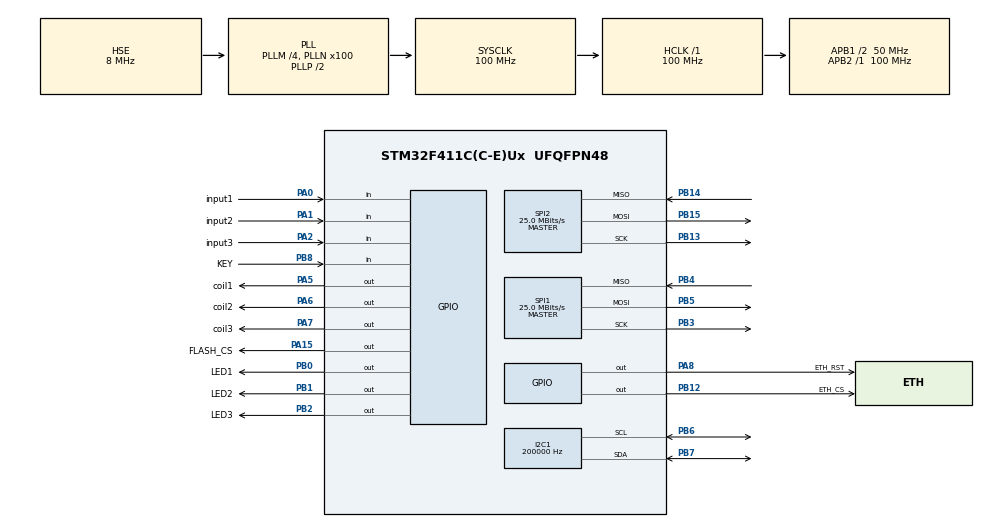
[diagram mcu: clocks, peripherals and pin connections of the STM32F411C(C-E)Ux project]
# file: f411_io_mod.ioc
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ADC1.Channel-2\#ChannelRegularConversion=ADC_CHANNEL_VBAT
ADC1.ClockPrescaler=ADC_CLOCK_SYNC_PCLK_DIV8
ADC1.NbrOfConversion=1
ADC1.NbrOfConversionFlag=1
ADC1.Rank-2\#ChannelRegularConversion=1
ADC1.SamplingTime-2\#ChannelRegularConversion=ADC_SAMPLETIME_3CYCLES
ADC1.master=1
FREERTOS.INCLUDE_vTaskDelete=1
FREERTOS.Mutexes01=SPI2Mutex,Dynamic,NULL,Available;FSMutex,Dynamic,NULL,Available
FREERTOS.Queues01=inputReadQ,1,inputs_state_t,0,Dynamic,NULL,NULL;outputReadQ,1,outputs_state_t,0,Dynamic,NULL,NULL;outputWriteQ,1,outputs_state_t,0,Dynamic,NULL,NULL;mqttQ,1,MQTT_cred_struct,0,Dynamic,NULL,NULL;loggingQ,25,log_message_t,0,Dynamic,NULL,NULL
FREERTOS.Tasks01=ethTask,24,1500,StartEthTask,Default,NULL,Dynamic,NULL,NULL;IOTask,24,256,StartIOTask,Default,NULL,Dynamic,NULL,NULL;displayTask,24,256,StartDisplayTask,Default,NULL,Dynamic,NULL,NULL;settingsTask,24,512,StartSettingsTask,Default,NULL,Dynamic,NULL,NULL;loggingTask,8,512,StartLoggingTask,Default,NULL,Dynamic,NULL,NULL;WatchDog,40,265,StartWatchDogTask,Default,NULL,Dynamic,NULL,NULL
FREERTOS.configENABLE_FPU=1
FREERTOS.configTOTAL_HEAP_SIZE=90360
FREERTOS.configUSE_NEWLIB_REENTRANT=1
I2C1.ClockSpeed=200000
I2C1.I2C_Mode=I2C_Fast
IWDG.Prescaler=IWDG_PRESCALER_32
Mcu.Family=STM32F4
Mcu.Name=STM32F411C(C-E)Ux
Mcu.Package=UFQFPN48
NVIC.PriorityGroup=NVIC_PRIORITYGROUP_4
NVIC.TIM1_BRK_TIM9_IRQn=true\:15\:0\:false\:false\:true\:false\:false\:true\:true
NVIC.TimeBase=TIM1_BRK_TIM9_IRQn
NVIC.TimeBaseIP=TIM9
PA0-WKUP.GPIO_Label=input1
PA0-WKUP.GPIO_PuPd=GPIO_PULLDOWN
PA0-WKUP.Signal=GPIO_Input
PA1.GPIO_Label=input2
PA1.GPIO_PuPd=GPIO_PULLDOWN
PA1.Signal=GPIO_Input
PA13.Mode=Serial_Wire
PA13.Signal=SYS_JTMS-SWDIO
PA14.Mode=Serial_Wire
PA14.Signal=SYS_JTCK-SWCLK
PA15.GPIO_Label=FLASH_CS
PA15.GPIO_Speed=GPIO_SPEED_FREQ_HIGH
PA15.PinState=GPIO_PIN_SET
PA15.Signal=GPIO_Output
PA2.GPIO_Label=input3
PA2.GPIO_PuPd=GPIO_PULLDOWN
PA2.Signal=GPIO_Input
PA5.GPIO_Label=coil1
PA5.Signal=GPIO_Output
PA6.GPIO_Label=coil2
PA6.Signal=GPIO_Output
PA7.GPIO_Label=coil3
PA7.Signal=GPIO_Output
PA8.GPIO_Label=ETH_RST
PA8.GPIO_Speed=GPIO_SPEED_FREQ_HIGH
PA8.Signal=GPIO_Output
PB0.GPIO_Label=LED1
PB0.Signal=GPIO_Output
PB1.GPIO_Label=LED2
PB1.Signal=GPIO_Output
PB12.GPIO_Label=ETH_CS
PB12.GPIO_Speed=GPIO_SPEED_FREQ_HIGH
PB12.PinState=GPIO_PIN_SET
PB12.Signal=GPIO_Output
PB13.Mode=Full_Duplex_Master
PB13.Signal=SPI2_SCK
PB14.Mode=Full_Duplex_Master
PB14.Signal=SPI2_MISO
PB15.Mode=Full_Duplex_Master
PB15.Signal=SPI2_MOSI
PB2.GPIO_Label=LED3
PB2.Signal=GPIO_Output
PB3.Mode=Full_Duplex_Master
PB3.Signal=SPI1_SCK
PB4.Mode=Full_Duplex_Master
PB4.Signal=SPI1_MISO
PB5.Mode=Full_Duplex_Master
PB5.Signal=SPI1_MOSI
PB6.GPIO_Pu=GPIO_PULLUP
PB6.Mode=I2C
PB6.Signal=I2C1_SCL
PB7.GPIO_Pu=GPIO_PULLUP
PB7.Mode=I2C
PB7.Signal=I2C1_SDA
PB8.GPIO_Label=KEY
PB8.Signal=GPIO_Input
PH0\ -\ OSC_IN.Mode=HSE-External-Oscillator
PH0\ -\ OSC_IN.Signal=RCC_OSC_IN
PH1\ -\ OSC_OUT.Mode=HSE-External-Oscillator
PH1\ -\ OSC_OUT.Signal=RCC_OSC_OUT
ProjectManager.HeapSize=0x400
ProjectManager.StackSize=0x800
ProjectManager.TargetToolchain=STM32CubeIDE
RCC.48MHZClocksFreq_Value=50000000
RCC.AHBFreq_Value=100000000
RCC.APB1CLKDivider=RCC_HCLK_DIV2
RCC.APB1Freq_Value=50000000
RCC.APB1TimFreq_Value=100000000
RCC.APB2Freq_Value=100000000
RCC.APB2TimFreq_Value=100000000
RCC.CortexFreq_Value=100000000
RCC.HCLKFreq_Value=100000000
RCC.HSE_VALUE=8000000
RCC.HSI_VALUE=16000000
RCC.LSE_VALUE=32768
RCC.PLLM=4
RCC.PLLN=100
RCC.PLLSourceVirtual=RCC_PLLSOURCE_HSE
RCC.RCC_RTC_Clock_Source_FROM_HSE=RCC_RTCCLKSOURCE_HSE_DIV31
RCC.SYSCLKFreq_VALUE=100000000
RCC.SYSCLKSource=RCC_SYSCLKSOURCE_PLLCLK
RCC.VCOOutputFreq_Value=200000000
RTC.Format=RTC_FORMAT_BCD
SPI1.BaudRatePrescaler=SPI_BAUDRATEPRESCALER_4
SPI1.CalculateBaudRate=25.0 MBits/s
SPI1.Direction=SPI_DIRECTION_2LINES
SPI1.Mode=SPI_MODE_MASTER
SPI1.VirtualType=VM_MASTER
SPI2.BaudRatePrescaler=SPI_BAUDRATEPRESCALER_2
SPI2.CalculateBaudRate=25.0 MBits/s
SPI2.Direction=SPI_DIRECTION_2LINES
SPI2.Mode=SPI_MODE_MASTER
SPI2.VirtualType=VM_MASTER
VP_ADC1_Vbat_Input.Mode=IN-Vbat
VP_ADC1_Vref_Input.Mode=IN-Vrefint
VP_FREERTOS_VS_CMSIS_V2.Mode=CMSIS_V2
VP_IWDG_VS_IWDG.Mode=IWDG_Activate
VP_RTC_VS_RTC_Activate.Mode=RTC_Enabled
VP_RTC_VS_RTC_Calendar.Mode=RTC_Calendar
VP_SYS_VS_tim9.Mode=TIM9
board=custom

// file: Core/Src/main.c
/* USER CODE BEGIN Header */
/**
  ******************************************************************************
  * @file           : main.c
  * @brief          : Main program body
  ******************************************************************************
  * @attention
  *
  * Copyright (c) 2024 STMicroelectronics.
  * All rights reserved.
  *
  * This software is licensed under terms that can be found in the LICENSE file
  * in the root directory of this software component.
  * If no LICENSE file comes with this software, it is provided AS-IS.
  *
  ******************************************************************************
  */
/* USER CODE END Header */
#include "main.h"
#include "cmsis_os.h"
#include "adc.h"
#include "i2c.h"
#include "iwdg.h"
#include "rtc.h"
#include "spi.h"
#include "gpio.h"

/* USER CODE BEGIN Includes */
#include "SPI_flash.h"
/* USER CODE END Includes */

void SystemClock_Config(void);
void MX_FREERTOS_Init(void);

int main(void)
{

  /* USER CODE BEGIN 1 */
	__disable_irq();
	SCB->VTOR = (uint32_t)0x08000000 | (0x08010000 & (uint32_t)0x1FFFFF80);
	 //NVIC_SetVectorTable(NVIC_VectTab_FLASH, 0x08010000);
	__enable_irq();

	volatile int i = 1000000;
	while (i > 0){ //delay for startup
		i--;
	}
  /* USER CODE END 1 */

  /* MCU Configuration--------------------------------------------------------*/

  /* Reset of all peripherals, Initializes the Flash interface and the Systick. */
  HAL_Init();

  /* Configure the system clock */
  SystemClock_Config();

  /* Initialize all configured peripherals */
  MX_GPIO_Init();
  MX_SPI2_Init();
  MX_I2C1_Init();
  MX_SPI1_Init();
  MX_IWDG_Init();
  MX_ADC1_Init();
  MX_RTC_Init();
  /* USER CODE BEGIN 2 */
  //load spi flash statistic from RTC registers
  if (HAL_RTCEx_BKUPRead(&hrtc, RTC_BKP_DR2) == HAL_RTCEx_BKUPRead(&hrtc, RTC_BKP_DR3)){
	  sFLASH_SetEraceSectorTimes(HAL_RTCEx_BKUPRead(&hrtc, RTC_BKP_DR2));
  }

  if (HAL_RTCEx_BKUPRead(&hrtc, RTC_BKP_DR4) == HAL_RTCEx_BKUPRead(&hrtc, RTC_BKP_DR5)){
	  sFLASH_SetReadedBytes(HAL_RTCEx_BKUPRead(&hrtc, RTC_BKP_DR4));
  }

  if (HAL_RTCEx_BKUPRead(&hrtc, RTC_BKP_DR6) == HAL_RTCEx_BKUPRead(&hrtc, RTC_BKP_DR7)){
	  sFLASH_SetWritedBytes(HAL_RTCEx_BKUPRead(&hrtc, RTC_BKP_DR6));
  }
  /* USER CODE END 2 */

  /* Init scheduler */
  osKernelInitialize();

  /* Call init function for freertos objects (in cmsis_os2.c) */
  MX_FREERTOS_Init();

  /* Start scheduler */
  osKernelStart();

  /* We should never get here as control is now taken by the scheduler */

  /* Infinite loop */
  while (1)
  {

  }
}

void SystemClock_Config(void)
{
  RCC_OscInitTypeDef RCC_OscInitStruct = {0};
  RCC_ClkInitTypeDef RCC_ClkInitStruct = {0};

  /** Configure the main internal regulator output voltage
  */
  __HAL_RCC_PWR_CLK_ENABLE();
  __HAL_PWR_VOLTAGESCALING_CONFIG(PWR_REGULATOR_VOLTAGE_SCALE1);

  /** Initializes the RCC Oscillators according to the specified parameters
  * in the RCC_OscInitTypeDef structure.
  */
  RCC_OscInitStruct.OscillatorType = RCC_OSCILLATORTYPE_LSI|RCC_OSCILLATORTYPE_HSE;
  RCC_OscInitStruct.HSEState = RCC_HSE_ON;
  RCC_OscInitStruct.LSIState = RCC_LSI_ON;
  RCC_OscInitStruct.PLL.PLLState = RCC_PLL_ON;
  RCC_OscInitStruct.PLL.PLLSource = RCC_PLLSOURCE_HSE;
  RCC_OscInitStruct.PLL.PLLM = 4;
  RCC_OscInitStruct.PLL.PLLN = 100;
  RCC_OscInitStruct.PLL.PLLP = RCC_PLLP_DIV2;
  RCC_OscInitStruct.PLL.PLLQ = 4;
  if (HAL_RCC_OscConfig(&RCC_OscInitStruct) != HAL_OK)
  {
    Error_Handler();
  }

  /** Initializes the CPU, AHB and APB buses clocks
  */
  RCC_ClkInitStruct.ClockType = RCC_CLOCKTYPE_HCLK|RCC_CLOCKTYPE_SYSCLK
                              |RCC_CLOCKTYPE_PCLK1|RCC_CLOCKTYPE_PCLK2;
  RCC_ClkInitStruct.SYSCLKSource = RCC_SYSCLKSOURCE_PLLCLK;
  RCC_ClkInitStruct.AHBCLKDivider = RCC_SYSCLK_DIV1;
  RCC_ClkInitStruct.APB1CLKDivider = RCC_HCLK_DIV2;
  RCC_ClkInitStruct.APB2CLKDivider = RCC_HCLK_DIV1;

  if (HAL_RCC_ClockConfig(&RCC_ClkInitStruct, FLASH_LATENCY_3) != HAL_OK)
  {
    Error_Handler();
  }
}

void HAL_TIM_PeriodElapsedCallback(TIM_HandleTypeDef *htim)
{
  if (htim->Instance == TIM9)
  {
    HAL_IncTick();
  }
}

void Error_Handler(void)
{
  __disable_irq();
  while (1)
  {
  }
}

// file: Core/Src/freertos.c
/* USER CODE BEGIN Header */
/**
  ******************************************************************************
  * File Name          : freertos.c
  * Description        : Code for freertos applications
  ******************************************************************************
  * @attention
  *
  * Copyright (c) 2024 STMicroelectronics.
  * All rights reserved.
  *
  * This software is licensed under terms that can be found in the LICENSE file
  * in the root directory of this software component.
  * If no LICENSE file comes with this software, it is provided AS-IS.
  *
  ******************************************************************************
  */
/* USER CODE END Header */

#include "FreeRTOS.h"
#include "task.h"
#include "main.h"
#include "cmsis_os.h"

/* USER CODE BEGIN Includes */
#include "definitions.h"
#include "mongoose.h"
#include "spi.h"
#include "data_types.h"
#include "SPI_flash.h"
#include "fs_adstractions.h"
#include "dashboard.h"
#include "queue.h"
//#include "eth.h"
#include "mqtt_gen_strings.hpp"
#include "mqtt.hpp"
#include "ssd1306.h"
#include "fonts.h"
#include "i2c.h"
#include "logger.h"
#include "sntp.h"
#include "ssdp.h"
#include "mb.h"
#include "mb_tcp_app.h"
#include "mb.h"
#include "mbutils.h"
#include "iwdg.h"
#include "rtc.h"
//#include "mbport.h"

/* USER CODE END Includes */

/* USER CODE BEGIN Variables */
struct mg_full_net_info mg_full_info;
//flag to indicate file system healthy
int8_t	flash_status_flag = 0;
//flag to indicate flash is not found
uint8_t flash_not_connect_flag = 0;
/* USER CODE END Variables */
/* Definitions for ethTask */
osThreadId_t ethTaskHandle;
const osThreadAttr_t ethTask_attributes = {
  .name = "ethTask",
  .stack_size = 1500 * 4,
  .priority = (osPriority_t) osPriorityNormal,
};
/* Definitions for IOTask */
osThreadId_t IOTaskHandle;
const osThreadAttr_t IOTask_attributes = {
  .name = "IOTask",
  .stack_size = 256 * 4,
  .priority = (osPriority_t) osPriorityNormal,
};
/* Definitions for displayTask */
osThreadId_t displayTaskHandle;
const osThreadAttr_t displayTask_attributes = {
  .name = "displayTask",
  .stack_size = 256 * 4,
  .priority = (osPriority_t) osPriorityNormal,
};
/* Definitions for settingsTask */
osThreadId_t settingsTaskHandle;
const osThreadAttr_t settingsTask_attributes = {
  .name = "settingsTask",
  .stack_size = 512 * 4,
  .priority = (osPriority_t) osPriorityNormal,
};
/* Definitions for loggingTask */
osThreadId_t loggingTaskHandle;
const osThreadAttr_t loggingTask_attributes = {
  .name = "loggingTask",
  .stack_size = 512 * 4,
  .priority = (osPriority_t) osPriorityLow,
};
/* Definitions for WatchDog */
osThreadId_t WatchDogHandle;
const osThreadAttr_t WatchDog_attributes = {
  .name = "WatchDog",
  .stack_size = 265 * 4,
  .priority = (osPriority_t) osPriorityHigh,
};
/* Definitions for inputReadQ */
osMessageQueueId_t inputReadQHandle;
const osMessageQueueAttr_t inputReadQ_attributes = {
  .name = "inputReadQ"
};
/* Definitions for outputReadQ */
osMessageQueueId_t outputReadQHandle;
const osMessageQueueAttr_t outputReadQ_attributes = {
  .name = "outputReadQ"
};
/* Definitions for outputWriteQ */
osMessageQueueId_t outputWriteQHandle;
const osMessageQueueAttr_t outputWriteQ_attributes = {
  .name = "outputWriteQ"
};
/* Definitions for mqttQ */
osMessageQueueId_t mqttQHandle;
const osMessageQueueAttr_t mqttQ_attributes = {
  .name = "mqttQ"
};
/* Definitions for loggingQ */
osMessageQueueId_t loggingQHandle;
const osMessageQueueAttr_t loggingQ_attributes = {
  .name = "loggingQ"
};
/* Definitions for SPI2Mutex */
osMutexId_t SPI2MutexHandle;
const osMutexAttr_t SPI2Mutex_attributes = {
  .name = "SPI2Mutex"
};
/* Definitions for FSMutex */
osMutexId_t FSMutexHandle;
const osMutexAttr_t FSMutex_attributes = {
  .name = "FSMutex"
};

/* USER CODE BEGIN FunctionPrototypes */
void EthResetBegin(void);
void EthResetEnd(void);
void EthBegin(void * param);
void EthEnd(void * param);
void FlashBegin(void);
void FlashEnd(void);
uint8_t EthTxn(void *spi, uint8_t data);
uint8_t GetInputsStatus(void);
uint8_t GetOutputsStatus(void);
void SetOutputs(uint8_t outputs);
//void SendByteSPI2(uint8_t byte);
//int RecvBuffSPI2(uint8_t * buffer, uint16_t size);
void FlashSPIsendByte(uint8_t byte);
int FlashSPIrecvBuff(uint8_t * buffer, uint16_t size);

void FS_Lock(void * param);
void FS_Unlock(void * param);
uint8_t EthSPIsendReceiveByte(SPI_HandleTypeDef *hspi, uint8_t data);
uint8_t spi_txn(void *spi, uint8_t data);
void RW_parameters_from_queue(void * param, sett_type_t param_type,  sett_direction_t direction);
void add_log_mess_to_q(struct log_message mess);
void empty_fn(void *data);
void my_custom_log_function(char ch, void *param);
/* USER CODE END FunctionPrototypes */

void StartEthTask(void *argument);
void StartIOTask(void *argument);
void StartDisplayTask(void *argument);
void StartSettingsTask(void *argument);
void StartLoggingTask(void *argument);
void StartWatchDogTask(void *argument);

void MX_FREERTOS_Init(void); /* (MISRA C 2004 rule 8.1) */

void MX_FREERTOS_Init(void) {
  /* Create the mutex(es) */
  /* creation of SPI2Mutex */
  SPI2MutexHandle = osMutexNew(&SPI2Mutex_attributes);

  /* creation of FSMutex */
  FSMutexHandle = osMutexNew(&FSMutex_attributes);

  /* Create the queue(s) */
  /* creation of inputReadQ */
  inputReadQHandle = osMessageQueueNew (1, sizeof(inputs_state_t), &inputReadQ_attributes);

  /* creation of outputReadQ */
  outputReadQHandle = osMessageQueueNew (1, sizeof(outputs_state_t), &outputReadQ_attributes);

  /* creation of outputWriteQ */
  outputWriteQHandle = osMessageQueueNew (1, sizeof(outputs_state_t), &outputWriteQ_attributes);

  /* creation of mqttQ */
  mqttQHandle = osMessageQueueNew (1, sizeof(MQTT_cred_struct), &mqttQ_attributes);

  /* creation of loggingQ */
  loggingQHandle = osMessageQueueNew (25, sizeof(log_message_t), &loggingQ_attributes);

  /* Create the thread(s) */
  /* creation of ethTask */
  ethTaskHandle = osThreadNew(StartEthTask, NULL, &ethTask_attributes);

  /* creation of IOTask */
  IOTaskHandle = osThreadNew(StartIOTask, NULL, &IOTask_attributes);

  /* creation of displayTask */
  displayTaskHandle = osThreadNew(StartDisplayTask, NULL, &displayTask_attributes);

  /* creation of settingsTask */
  settingsTaskHandle = osThreadNew(StartSettingsTask, NULL, &settingsTask_attributes);

  /* creation of loggingTask */
  loggingTaskHandle = osThreadNew(StartLoggingTask, NULL, &loggingTask_attributes);

  /* creation of WatchDog */
  WatchDogHandle = osThreadNew(StartWatchDogTask, NULL, &WatchDog_attributes);

}

void StartEthTask(void *argument)
{
  /* USER CODE BEGIN StartEthTask */
  void 		           *web_handler;
  struct 			   mg_mgr mgr; // Initialise
  MQTT_cred_struct	   mqtt_conf;
  struct mg_connection *mqtt_conn;
  struct               mg_tcpip_spi spi = {
											  .begin = EthBegin,
											  .end = EthEnd,
											  .txn = EthTxn,
											  .spi = &hspi2,
										  };
  struct              mg_tcpip_if   mif = {
											  .mac = {
													  0x40,
													  0x22,
													  *(uint8_t*)(UID_BASE),
													  *(uint8_t*)(UID_BASE + 0x02),
													  *(uint8_t*)(UID_BASE + 0x04),
													  *(uint8_t*)(UID_BASE + 0x08)
											  },
											  .enable_req_dns = true,
											  .enable_req_sntp = true,
											  .driver = &mg_tcpip_driver_w5500,
											  .driver_data = &spi
										  };

  mg_full_info.mgr =  &mgr;
  mg_full_info.mgr_if =  &mif;

  while (mg_fs_mounted() == 0){
	  osDelay(500);
  }
  // Set custom logging function
  mg_log_set_fn(my_custom_log_function, NULL);

  mg_mgr_init(&mgr);        // Mongoose event manager
  mg_log_set(MG_LL_INFO);  // Set log level

  web_handler = dash_hdl(); // Get dashboard handler

  while(mif.mtu == 0){
	  EthResetBegin();
	  osDelay(500);
	  EthResetEnd();
	  osDelay(2000);
	  mg_tcpip_init(&mgr, &mif);  // Initialize TCP/IP stack
  }
  set_device_id(mif.mac, sizeof(mif.mac));
  reg_parameter_handler(RW_parameters_from_queue);
  mg_http_listen(&mgr, "http://0.0.0.0:80", web_handler, &mg_full_info);

  while (mif.state != MG_TCPIP_STATE_READY) {
    mg_mgr_poll(&mgr, 1);
    osDelay(1);
  }

  logging(L_INFO, "IP addr: %lu.%lu.%lu.%lu", (mg_full_info.mgr_if->ip) & 0xFF, (mg_full_info.mgr_if->ip >> 8) & 0xFF,
			(mg_full_info.mgr_if->ip >> 16) & 0xFF, (mg_full_info.mgr_if->ip >> 24) & 0xFF);

  RW_parameters_from_queue(&mqtt_conf, S_MQTT, S_READ);
  if (mqtt_conf.enable){
	  logging(L_INFO, "MQTT function enabled.");
	  mqtt_init(&mgr, &mif, mqtt_conf.uri, mqtt_conf.login, mqtt_conf.pass, RW_parameters_from_queue);
  }else{
	  logging(L_INFO, "MQTT function disabled");
  }
  start_sntp(&mgr);
  ssdp_start_server(&mgr, &mif);
  init_mb_tcp(&mgr);
  TickType_t last_tick = xTaskGetTickCount(); // начальное значение тиков

  /* Infinite loop */
  for(;;)
  {
	  TickType_t current_tick = xTaskGetTickCount();
	  uint32_t elapsed_ms = (current_tick - last_tick) * portTICK_PERIOD_MS; // количество миллисекунд, прошедших с последнего вызова
	  last_tick = current_tick; // обновляем значение тиков

	  mg_mgr_poll(&mgr, elapsed_ms); // передаем фактическое время в миллисекундах

      while (mif.driver->up(&mif) == false){
    	  EthResetBegin(); //enable reset state w5500
    	  osDelay(100);
    	  EthResetEnd(); //disable reset state w5500
    	  osDelay(3000);
    	  mif.driver->init(&mif);
    	  osDelay(7000);
      }
      osDelay(1);
  }
  /* USER CODE END StartEthTask */
}

void StartIOTask(void *argument)
{
  /* USER CODE BEGIN StartIOTask */
	uint16_t pinCoils[] = {coil3_Pin, coil2_Pin,coil1_Pin};
	GPIO_TypeDef* portCoils[] = {coil3_GPIO_Port, coil2_GPIO_Port, coil1_GPIO_Port};
	uint16_t pinInputs[] = {input3_Pin, input2_Pin, input1_Pin };
	GPIO_TypeDef* portInputs[] = {input3_GPIO_Port, input2_GPIO_Port, input1_GPIO_Port};
	inputs_state_t pinInputs_r;
	outputs_state_t pinOutputs_r;
	outputs_state_t pinOutputs_w;
	uint8_t i;

	// check if lenth of massive is correct
	if ((sizeof(pinCoils) / sizeof(pinCoils[0])) != OUTPUTS_COUNT ||
		(sizeof(portCoils) / sizeof(portCoils[0])) != OUTPUTS_COUNT ||
		(sizeof(pinInputs) / sizeof(pinInputs[0])) != INPUTS_COUNT ||
		(sizeof(portInputs) / sizeof(portInputs[0])) != INPUTS_COUNT ||
		(sizeof(pinInputs_r) / sizeof(uint8_t)) != INPUTS_COUNT ||
		(sizeof(pinOutputs_r) / sizeof(uint8_t)) != OUTPUTS_COUNT ||
		(sizeof(pinOutputs_w) / sizeof(uint8_t)) != OUTPUTS_COUNT)
	{
		while (1){

		}
	    // Код обработки ошибки
	}
  /* Infinite loop */
  for(;;)
  {
	 // write outputs
	 if(osMessageQueueGetCount(outputWriteQHandle)){
		 osMessageQueueGet(outputWriteQHandle, &pinOutputs_w, 0, 0);
		 for (i = 0; i < OUTPUTS_COUNT; i++) {
		     if (pinOutputs_w[i]) {
		         HAL_GPIO_WritePin(portCoils[i], pinCoils[i], GPIO_PIN_SET);
		     } else {
		         HAL_GPIO_WritePin(portCoils[i], pinCoils[i], GPIO_PIN_RESET);
		     }
		 }
	 }

	 // read outputs status
	for (i = 0; i < OUTPUTS_COUNT; i++) {
		pinOutputs_r[i] = (uint8_t)HAL_GPIO_ReadPin(portCoils[i], pinCoils[i]);
	}
	//xQueueOverwrite(outputReadQHandle, &pinOutputs_r);
	osMessageQueueReset(outputReadQHandle);
	osMessageQueuePut(outputReadQHandle, &pinOutputs_r, 0, 0);

	// read inputs status
	for (i = 0; i < INPUTS_COUNT; i++) {
		pinInputs_r[i] = (uint8_t)(!HAL_GPIO_ReadPin(portInputs[i], pinInputs[i]));
	}
	//xQueueOverwrite(inputReadQHandle, &pinInputs_r);
	osMessageQueueReset(inputReadQHandle);
	osMessageQueuePut(inputReadQHandle, &pinInputs_r, 0, 0);

    osDelay(1);
  }
  /* USER CODE END StartIOTask */
}

void StartDisplayTask(void *argument)
{
  /* USER CODE BEGIN StartDisplayTask */
	uint8_t x,y;
	char buf[20];
	osDelay(1000);//

	static struct DeviceStatus io_status;

	SSD1306_Init (); // initialise the display
	osDelay(100);//
	SSD1306_GotoXY(x=1,y=0);
	SSD1306_Fill(SSD1306_COLOR_BLACK);

	if (flash_not_connect_flag){
		SSD1306_GotoXY(x=1,y=0);
		SSD1306_Fill(SSD1306_COLOR_BLACK);
		SSD1306_Puts("Error. Flash mem", &Font_7x10, SSD1306_COLOR_WHITE);
		SSD1306_GotoXY(x=1,y=10);
		SSD1306_Puts("chip is not", &Font_7x10, SSD1306_COLOR_WHITE);
		SSD1306_GotoXY(x=1,y=20);
		SSD1306_Puts("connected. Reboot", &Font_7x10, SSD1306_COLOR_WHITE);
		SSD1306_UpdateScreen();
		vTaskDelay(3000);
	}

	SSD1306_Puts("Builded: ", &Font_7x10, SSD1306_COLOR_WHITE);
	//SSD1306_GotoXY(x=1,y=y+11);
	SSD1306_Puts(__TIME__, &Font_7x10, SSD1306_COLOR_WHITE);
	SSD1306_GotoXY(x=1,y=y+11);
	SSD1306_Puts(__DATE__, &Font_7x10, SSD1306_COLOR_WHITE);
	SSD1306_GotoXY(x=1,y=y+11);
	sprintf((char *)buf,"%02X:%02X:%02X:%02X:%02X:%02X",
			mg_full_info.mgr_if->mac[0], mg_full_info.mgr_if->mac[1],
			mg_full_info.mgr_if->mac[2], mg_full_info.mgr_if->mac[3],
			mg_full_info.mgr_if->mac[4], mg_full_info.mgr_if->mac[5]);
	SSD1306_Puts((char *)buf, &Font_7x10, SSD1306_COLOR_WHITE);

	SSD1306_GotoXY(x=1,y=y+11);
	sprintf((char *)buf, "%s",get_flash_chip_model());
	SSD1306_Puts((char *)buf, &Font_7x10, SSD1306_COLOR_WHITE);
	SSD1306_UpdateScreen();
	osDelay(3000);
	int i=0;

  /* Infinite loop */
	for(;;)
	{
		RW_parameters_from_queue(io_status.inputs, S_INPUTS, S_READ);
		RW_parameters_from_queue(io_status.outputs, S_OUTPUTS, S_READ);

		SSD1306_Fill(SSD1306_COLOR_BLACK);

		switch (flash_status_flag) {
		case -5:
			SSD1306_GotoXY(x=1,y=40);
			SSD1306_Puts("LFS_ERR_IO", &Font_7x10, SSD1306_COLOR_WHITE);
			break;
		case -84:
			SSD1306_GotoXY(x=1,y=40);
			SSD1306_Puts("LFS_ERR_CORRUPT", &Font_7x10, SSD1306_COLOR_WHITE);
			break;
		case -24:
			SSD1306_GotoXY(x=1,y=40);
			SSD1306_Puts("LFS_ERR_NOSPC", &Font_7x10, SSD1306_COLOR_WHITE);
			break;
		case -12:
			SSD1306_GotoXY(x=1,y=40);
			SSD1306_Puts("LFS_ERR_NOMEM", &Font_7x10, SSD1306_COLOR_WHITE);
			break;
		default:
			break;
		}

		SSD1306_GotoXY(x=1,y=0);
		SSD1306_Puts("IP:", &Font_7x10, SSD1306_COLOR_WHITE);
		sprintf(buf,"%lu.%lu.%lu.%lu",
				(mg_full_info.mgr_if->ip) & 0xFF, (mg_full_info.mgr_if->ip >> 8) & 0xFF,
				(mg_full_info.mgr_if->ip >> 16) & 0xFF, (mg_full_info.mgr_if->ip >> 24) & 0xFF);
		SSD1306_Puts(buf, &Font_7x10, SSD1306_COLOR_WHITE);
		SSD1306_GotoXY(x,y=y+11);
		SSD1306_Puts("Inputs:", &Font_7x10, SSD1306_COLOR_WHITE);
		SSD1306_GotoXY(x=x+60,y);
		for (i=0 ; i<INPUTS_COUNT ; i++){
			sprintf((char *)buf,"%d",i+1);
			if ( io_status.inputs[i] ){
				SSD1306_Puts((char *)buf, &Font_7x10, SSD1306_COLOR_BLACK);
			}else{
				SSD1306_Puts((char *)buf, &Font_7x10, SSD1306_COLOR_WHITE);
			}
			SSD1306_GotoXY(x=x+8,y);
		}
		SSD1306_GotoXY(x=1,y=y+11);
		SSD1306_Puts("Outputs:", &Font_7x10, SSD1306_COLOR_WHITE);
		SSD1306_GotoXY(x=x+60,y);

		for (i=0 ; i<OUTPUTS_COUNT ; i++){
			sprintf((char *)buf,"%d",i+1);
			if ( io_status.outputs[i] ){
				SSD1306_Puts((char *)buf, &Font_7x10, SSD1306_COLOR_BLACK);
			}else{
				SSD1306_Puts((char *)buf, &Font_7x10, SSD1306_COLOR_WHITE);
			}
			SSD1306_GotoXY(x=x+8,y);
		}

		SSD1306_UpdateScreen();

		while(HAL_I2C_IsDeviceReady(&hi2c1, SSD1306_I2C_ADDR, 1, 1000) != HAL_OK){
			HAL_I2C_DeInit(&hi2c1);
			vTaskDelay(1000);
			MX_I2C1_Init();
			vTaskDelay(1000);
			SSD1306_Init ();
		}
		osDelay(200);
	}
  /* USER CODE END StartDisplayTask */
}

void StartSettingsTask(void *argument)
{
  /* USER CODE BEGIN StartSettingsTask */
	size_t  f_size = 0;
	void *  f_pointer = NULL;
	uint8_t press_time = 0;

	MQTT_cred_struct mqtt_config;

  SPI_flash_reg_cb(FlashBegin, FlashEnd, FlashSPIrecvBuff, FlashSPIsendByte);
  if (lfs_fs_ll_init(FS_Lock, FS_Unlock) < 0){
	  flash_not_connect_flag = 1; //indicate that flash is not found
	  osDelay(3000);
	  HAL_NVIC_SystemReset();
  }

  mg_fs_lfs_mkdir("/web");
  mg_fs_lfs_remove("/firmware");
  mg_fs_lfs_remove("/firmware.bin");
  mg_fs_lfs_mkdir("/firmware");
  mg_fs_lfs_mkdir("/settings");
  mg_fs_lfs_mkdir("/certs");
  mg_fs_lfs_mkdir("/log");
  mg_fs_lfs_mkdir("/auth");
  mg_fs_lfs_mkdir("/smart"); //flash usage info

  if (mg_fs_lfs_status("/settings/mqtt.conf", &f_size, NULL)){//file found
	  f_pointer = mg_fs_lfs_open("/settings/mqtt.conf", MG_FS_READ);
	  mg_fs_lfs_read(f_pointer, &mqtt_config, sizeof(mqtt_config));
	  mg_fs_lfs_close(f_pointer);
	  mqtt_config.save = 0;
	  xQueueOverwrite(mqttQHandle, &mqtt_config);
  }else{
	  memset(&mqtt_config, 0, sizeof(mqtt_config));
	  xQueueOverwrite(mqttQHandle, &mqtt_config);
  }

  if (mg_fs_lfs_status(WEB_USERS_FILE, &f_size, NULL) == 0){//file not found
	  users_list_t *web_users = NULL;
	  web_users = (users_list_t *)malloc(user_list_size * sizeof(users_list_t));

	  if (web_users == NULL) {
		  logging(L_ERR, "Failed to allocate memory for 'web_users' ");
	  }else{
		  logging(L_INFO, "Initialize default login pass for web (admin:admin)'");
		  strcpy(web_users[0].user, WEB_ADMIN_DEFAULT);

		  unsigned char pass_digest[] = WEB_ADMIN_PASS_DIGEST;

		  memcpy(web_users[0].pass_digest, pass_digest, sizeof(pass_digest));

		  f_pointer = mg_fs_lfs_open(WEB_USERS_FILE, MG_FS_WRITE);

		  mg_fs_lfs_write(f_pointer, web_users, user_list_size * sizeof(users_list_t));
		  mg_fs_lfs_close(f_pointer);
	  }

	  free(web_users);
  }

  /* Infinite loop */
  for(;;)
  {
	  xQueuePeek(mqttQHandle, &mqtt_config, 0);
	  if(mqtt_config.save){
		  mg_fs_lfs_remove("/settings/mqtt.conf");
		  if((f_pointer = mg_fs_lfs_open("/settings/mqtt.conf", MG_FS_WRITE))){
			  //mg_fs_lfs_seek(f_pointer, 0);
			  mg_fs_lfs_write(f_pointer, &mqtt_config, sizeof(mqtt_config));
			  mg_fs_lfs_close(f_pointer);
			  mqtt_config.save = 0;
			  xQueueOverwrite(mqttQHandle, &mqtt_config);
		  }
	  }

	 if(HAL_GPIO_ReadPin(KEY_GPIO_Port, KEY_Pin) == GPIO_PIN_RESET){ // If key pressed, more than 8 secons - reset auth file and reset mcu
		 press_time++;
		 HAL_GPIO_WritePin(LED2_GPIO_Port, LED2_Pin, GPIO_PIN_SET);
		 osDelay(100);
		 HAL_GPIO_WritePin(LED2_GPIO_Port, LED2_Pin, GPIO_PIN_RESET);

		 if (press_time == 8){
			 HAL_GPIO_WritePin(LED2_GPIO_Port, LED2_Pin, GPIO_PIN_SET);
			 while (HAL_GPIO_ReadPin(KEY_GPIO_Port, KEY_Pin) == GPIO_PIN_RESET){
				 osDelay(1);
			 }
			 osDelay(1000);
			 mg_fs_lfs_remove(WEB_USERS_FILE);
			 HAL_NVIC_SystemReset();
		 }
	 }else{
		 press_time = 0;
	 }

	  osDelay(1000);
  }
  /* USER CODE END StartSettingsTask */
}

void StartLoggingTask(void *argument)
{
  /* USER CODE BEGIN StartLoggingTask */

	uint32_t count = 20000;
	void *  f_pointer = NULL;
	size_t fs_size;
//	HeapStats_t heap_status;

	uint32_t bytes_read = 0, bytes_write = 0, erace_times = 0;

	reg_logging_fn(add_log_mess_to_q);
	logger_set_level(L_INFO);
	logging(L_INFO, "Device started...");

	while (mg_fs_mounted() == 0){
	  osDelay(500);
	}

	logging(L_INFO, "Flash chip model name: %s",  get_flash_chip_model());
	logging(L_INFO, "Firmware version: %s", dev_sw_ver);

    uint32_t idcode = DBGMCU->IDCODE;
    uint32_t dev_id = idcode & 0xFFF;
    uint32_t rev_id = (idcode >> 16) & 0xFFFF;
    logging(L_INFO, "MCU ID and revision: %04X:%04X", dev_id, rev_id);

    uint16_t flash_kb = *(uint16_t*)FLASHSIZE_BASE;
    logging(L_INFO, "MCU flash size: %u KB", flash_kb);
	logging(L_INFO, "Firmware build date: %s", __DATE__);
	logging(L_INFO, "Firmware build time: %s", __TIME__);

  /* Infinite loop */
  for(;;)
  {
	  //--------logging
	  if (osMessageQueueGetCount(loggingQHandle)){
		  log_message_t log;
		  osMessageQueueGet(loggingQHandle, &log, 0, 0);
		  f_pointer = mg_fs_lfs_open(LOG_FILE_LOCATION, MG_FS_WRITE);
		  flash_status_flag = mg_fs_lfs_write(f_pointer, &log.log_text, log.log_len);
		  mg_fs_lfs_close(f_pointer);
	  }
	  //--------logging
    osDelay(500);

    if (count > 200){
    	mg_fs_lfs_status(LOG_FILE_LOCATION, &fs_size, NULL);
    	if (fs_size > LOG_FILE_MAX_SIZE){
    		mg_fs_lfs_remove(LOG_FILE_LOCATION_OLD);
    		mg_fs_lfs_rename(LOG_FILE_LOCATION, LOG_FILE_LOCATION_OLD);
    		logging(L_INFO, "Log file rotated");
        	logging(L_INFO, "MAC addr: %02X:%02X:%02X:%02X:%02X:%02X",
    			mg_full_info.mgr_if->mac[0], mg_full_info.mgr_if->mac[1],
    			mg_full_info.mgr_if->mac[2], mg_full_info.mgr_if->mac[3],
    			mg_full_info.mgr_if->mac[4], mg_full_info.mgr_if->mac[5]);
        	logging(L_INFO, "Flash chip model name: %s",  get_flash_chip_model());

            logging(L_INFO, "MCU ID and revision: %04X:%04X", dev_id, rev_id);

            logging(L_INFO, "MCU flash size: %u KB", flash_kb);

        	logging(L_INFO, "Firmware version: %s", dev_sw_ver);
        	logging(L_INFO, "Firmware build date: %s", __DATE__);
        	logging(L_INFO, "Firmware build time: %s", __TIME__);

        	bytes_read  = sFLASH_GetReadedBytes();
    		bytes_write = sFLASH_GetWritedBytes();
    		erace_times = sFLASH_GetEraceSectorTimes();
        	logging(L_INFO, "Read bytes from flash: %" PRIu32, bytes_read);
        	logging(L_INFO, "Write bytes to flash: %" PRIu32, bytes_write);
        	logging(L_INFO, "Erased sectors: %" PRIu32, erace_times);

    	}

    	count = 0;
//    	vPortGetHeapStats(&heap_status);
//    	logging(L_INFO, "Free Heap: %u, LargestFreeBlock: %u, SmallestFeeBlock: %u, NumFreeBlock: %u,  MinEverFreeBytes: %u, NumOfSuccessAlloc: %u, NumOfSuccessFree: %u ",
//                (unsigned int)heap_status.xAvailableHeapSpaceInBytes,
//                (unsigned int)heap_status.xSizeOfLargestFreeBlockInBytes,
//                (unsigned int)heap_status.xSizeOfSmallestFreeBlockInBytes,
//                (unsigned int)heap_status.xNumberOfFreeBlocks,
//                (unsigned int)heap_status.xMinimumEverFreeBytesRemaining,
//                (unsigned int)heap_status.xNumberOfSuccessfulAllocations,
//                (unsigned int)heap_status.xNumberOfSuccessfulFrees);

//    	logging(L_INFO, "IP addr: %lu.%lu.%lu.%lu",
//    			(mg_full_info.mgr_if->ip) & 0xFF, (mg_full_info.mgr_if->ip >> 8) & 0xFF,
//				(mg_full_info.mgr_if->ip >> 16) & 0xFF, (mg_full_info.mgr_if->ip >> 24) & 0xFF);

//    	bytes_read  = sFLASH_GetReadedBytes();
//		bytes_write = sFLASH_GetWritedBytes();
//		erace_times = sFLASH_GetEraceSectorTimes();
//    	logging(L_INFO, "Read bytes from flash: %" PRIu32, bytes_read);
//    	logging(L_INFO, "Write bytes to flash: %" PRIu32, bytes_write);
//    	logging(L_INFO, "Erased sectors: %" PRIu32, erace_times);

    	HAL_RTCEx_BKUPWrite(&hrtc, RTC_BKP_DR2, erace_times);
    	HAL_RTCEx_BKUPWrite(&hrtc, RTC_BKP_DR3, erace_times);
    	HAL_RTCEx_BKUPWrite(&hrtc, RTC_BKP_DR4, bytes_read);
    	HAL_RTCEx_BKUPWrite(&hrtc, RTC_BKP_DR5, bytes_read);
    	HAL_RTCEx_BKUPWrite(&hrtc, RTC_BKP_DR6, bytes_write);
    	HAL_RTCEx_BKUPWrite(&hrtc, RTC_BKP_DR7, bytes_write);

    }
    count ++;
  }
  /* USER CODE END StartLoggingTask */
}

void StartWatchDogTask(void *argument)
{
  /* USER CODE BEGIN StartWatchDogTask */
  /* Infinite loop */
  for(;;)
  {
	HAL_IWDG_Refresh(&hiwdg);
    osDelay(500);
    HAL_GPIO_TogglePin(LED1_GPIO_Port, LED1_Pin);
  }
  /* USER CODE END StartWatchDogTask */
}

/* USER CODE BEGIN Application */
void EthResetBegin(void){
	HAL_GPIO_WritePin(ETH_RST_GPIO_Port, ETH_RST_Pin, GPIO_PIN_RESET);
}

void EthResetEnd(void){
	HAL_GPIO_WritePin(ETH_RST_GPIO_Port, ETH_RST_Pin, GPIO_PIN_SET);
}

void EthBegin(void * param){
	//osMutexAcquire(SPI2MutexHandle, osWaitForever);
	HAL_GPIO_WritePin(ETH_CS_GPIO_Port, ETH_CS_Pin, GPIO_PIN_RESET);
}

void EthEnd(void * param){
	HAL_GPIO_WritePin(ETH_CS_GPIO_Port, ETH_CS_Pin, GPIO_PIN_SET);
	//osMutexRelease(SPI2MutexHandle);
}

uint8_t EthTxn(void *spi, uint8_t data) {
  uint8_t rx_data;
  HAL_SPI_TransmitReceive(&hspi2, &data, &rx_data, 1, HAL_MAX_DELAY);
  return rx_data;
}

void FlashBegin(void){
	//osMutexAcquire(SPI2MutexHandle, osWaitForever);
	HAL_GPIO_WritePin(FLASH_CS_GPIO_Port, FLASH_CS_Pin, GPIO_PIN_RESET);
}

void FlashEnd(void){
	HAL_GPIO_WritePin(FLASH_CS_GPIO_Port, FLASH_CS_Pin, GPIO_PIN_SET);
	//osMutexRelease(SPI2MutexHandle);
}

void FlashSPIsendByte(uint8_t byte){
	HAL_SPI_Transmit(&hspi1, &byte, 1, HAL_MAX_DELAY);
}

int FlashSPIrecvBuff(uint8_t * buffer, uint16_t size){
	return HAL_SPI_Receive(&hspi1, buffer, size, HAL_MAX_DELAY);
}

void FS_Lock(void * param){
	osMutexAcquire(FSMutexHandle, HAL_MAX_DELAY);
}

void FS_Unlock(void * param){
	osMutexRelease(FSMutexHandle);
}

uint8_t EthSPIsendReceiveByte(SPI_HandleTypeDef *hspi, uint8_t data)
{
    uint8_t receivedData = 0;

    // Отправка и прием данных
    if (HAL_SPI_TransmitReceive(hspi, &data, &receivedData, 1, HAL_MAX_DELAY) != HAL_OK)
    {
        // Обработка ошибки
        // Вы можете добавить обработку ошибок по необходимости
    }

    return receivedData;
}

uint8_t spi_txn(void *spi, uint8_t data)
{
    // Преобразуем указатель к типу SPI_HandleTypeDef
    SPI_HandleTypeDef *hspi = (SPI_HandleTypeDef *)spi;

    // �?спользуем функцию отправки и приема байта
    return EthSPIsendReceiveByte(hspi, data);
}

void RW_parameters_from_queue(void * param, sett_type_t param_type,  sett_direction_t direction){
	switch (param_type) {
		case S_MQTT:
			MQTT_cred_struct * pr = (MQTT_cred_struct *) param;
			if (direction == S_READ){
				xQueuePeek(mqttQHandle, pr, 0);
				//strncpy(pr->pass, "****", MAX_MQTT_PASS_LEN - 1);
				//pr->pass[MAX_MQTT_PASS_LEN - 1] = '\0'; // добавляем null-terminator
			}else if (direction == S_WRITE){
				xQueueOverwrite(mqttQHandle, pr);
			}
			break;

		case S_INPUTS:
			inputs_state_t * input = (inputs_state_t *) param;
			if (direction == S_READ){
				xQueuePeek(inputReadQHandle, input, 0);
			}
			break;

		case S_OUTPUTS:
			inputs_state_t * output = (inputs_state_t *) param;
			if (direction == S_READ){
				xQueuePeek(outputReadQHandle, output, 0);
			}else if(direction == S_WRITE){
				xQueueOverwrite(outputWriteQHandle, output);
			}
	}
}

void add_log_mess_to_q(struct log_message mess){

	osMessageQueuePut(loggingQHandle,  &mess, 0, 0);

}

void empty_fn(void *data){};

eMBErrorCode eMBRegDiscreteCB( UCHAR * pucRegBuffer, USHORT usAddress, USHORT usNDiscrete){

	eMBErrorCode eStatus = MB_ENOERR;

	//usAddress --; /* to c-style address */
	if (((int16_t) usAddress >= INPUTS_FIRST_INDEX) && (usAddress + usNDiscrete <= INPUTS_FIRST_INDEX + INPUTS_COUNT)){
		inputs_state_t input;
		usAddress --; /* to c-style address */
		RW_parameters_from_queue(input, S_INPUTS, S_READ);

		for(int i = usAddress; i < usNDiscrete; i++){
			xMBUtilSetBits( pucRegBuffer, i, 1, input[i] );
		}
	}else{
		eStatus = MB_ENOREG;
	}
	return eStatus;
}

eMBErrorCode eMBRegCoilsCB(UCHAR * pucRegBuffer, USHORT usAddress, USHORT usNCoils, eMBRegisterMode eMode)
{
	eMBErrorCode eStatus = MB_ENOERR;

	if (((int16_t) usAddress >= OUTPUTS_FIRST_INDEX) && (usAddress + usNCoils <= OUTPUTS_FIRST_INDEX + OUTPUTS_COUNT)){
		outputs_state_t outputs;

		switch (eMode) {

			case MB_REG_WRITE:
				usAddress --; /* to c-style address */
				RW_parameters_from_queue(outputs, S_OUTPUTS, S_READ);
				for(int i = usAddress; i < usNCoils + usAddress; i++){
					UCHAR wbit = xMBUtilGetBits(pucRegBuffer, i, 1 );
					outputs[i] = xMBUtilGetBits(pucRegBuffer, 0, 1 );
					//xMBUtilSetBits( pucRegBuffer, i, 1, outputs[i] );
				}
				RW_parameters_from_queue(outputs, S_OUTPUTS, S_WRITE);
				return MB_ENOERR;
				break;
			case MB_REG_READ:
				usAddress --; /* to c-style address */
				RW_parameters_from_queue(outputs, S_OUTPUTS, S_READ);
				for(int i = usAddress; i < usNCoils; i++){
					xMBUtilSetBits( pucRegBuffer, i, 1, outputs[i] );
				}
				return MB_ENOERR;
				break;
			default:
				return MB_ENOREG;
				break;
		}
	}
	return MB_ENOREG;
}

eMBErrorCode eMBRegInputCB(UCHAR * pucRegBuffer, USHORT usAddress, USHORT usNRegs )
{
	return MB_ENOREG;
}

eMBErrorCode eMBRegHoldingCB(UCHAR *pucRegBuffer, USHORT usAddress, USHORT usNRegs, eMBRegisterMode eMode)
{
	return MB_ENOREG;
}

void my_custom_log_function(char ch, void *param) {
    static char buffer[256];
    static size_t length = 0;

    buffer[length++] = ch;
    if (ch == '\n' || length >= sizeof(buffer)) {
        // Call your custom logging function here
        logging(L_INFO, "mg %.*s", (int) length, buffer);
        length = 0;
    }
}

/* USER CODE END Application */
